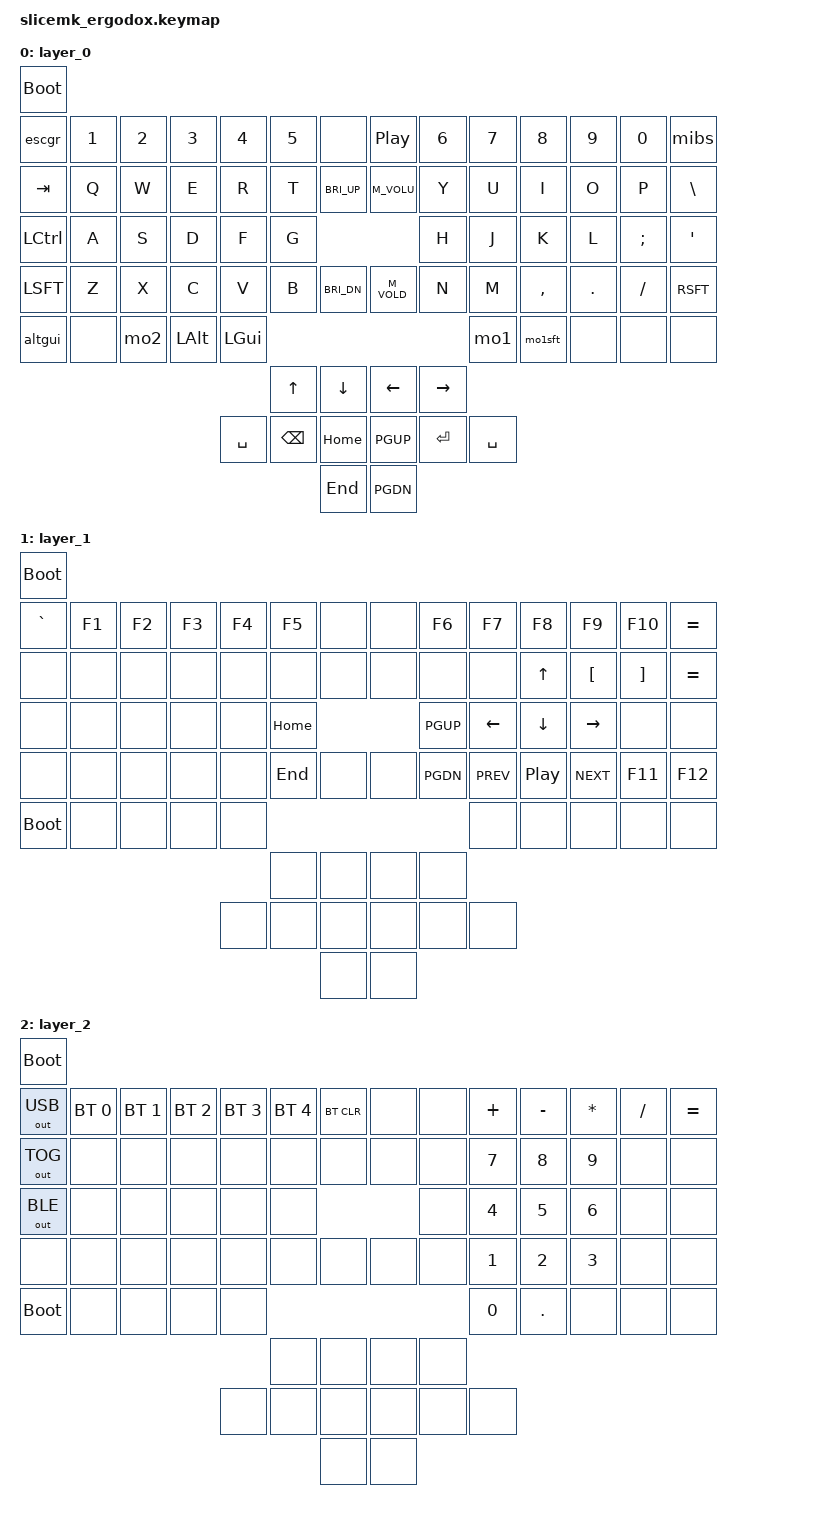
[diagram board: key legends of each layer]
/*
 * Copyright (c) 2020 The ZMK Contributors
 *
 * SPDX-License-Identifier: MIT
 */

#include <behaviors.dtsi>
#include <dt-bindings/zmk/keys.h>
#include <dt-bindings/zmk/bt.h>
#include <dt-bindings/zmk/outputs.h>
#include <dt-bindings/zmk/rgb.h>

/ {
    behaviors {
        escgr: escape_grave {
            compatible = "zmk,behavior-mod-morph";
            label = "DM4_ESCAPE_GRAVE";
            #binding-cells = <0>;
            bindings = <&kp ESC>, <&kp GRAVE>;
            mods = <(MOD_LSFT|MOD_RSFT)>;
            keep-mods = <(MOD_RSFT)>;
        };

        // dm4: for macOS style Cmd-Delete
        mibs: minus_backspace {
            compatible = "zmk,behavior-mod-morph";
            label = "DM4_MINUS_BACKSPACE";
            #binding-cells = <0>;
            bindings = <&kp MINUS>, <&kp BKSP>;
            mods = <(MOD_LGUI)>;
            keep-mods = <(MOD_LGUI)>;
        };
    };
};

#define BRI_UP (C_BRIGHTNESS_INC)
#define BRI_DN (C_BRIGHTNESS_DEC)
#define O_TOG OUT_TOG
#define O_USB OUT_USB
#define O_BLE OUT_BLE
#define BT_S BT_SEL
#define BLUE RGB_COLOR_HSB(240,100,100)
#define GREEN RGB_COLOR_HSB(120,100,100)
#define RGBOFF RGB_COLOR_HSB(0,0,0)

/ {
	keymap {
		compatible = "zmk,keymap";
		layer_0 {
			bindings = <
	&bootloader
	&escgr      &kp NUM_1  &kp NUM_2  &kp NUM_3  &kp NUM_4  &kp NUM_5  &none      &kp C_PP   &kp NUM_6  &kp NUM_7  &kp NUM_8  &kp NUM_9  &kp NUM_0  &mibs
	&kp TAB     &kp Q      &kp W      &kp E      &kp R      &kp T      &kp BRI_UP &kp M_VOLU &kp Y      &kp U      &kp I      &kp O      &kp P      &kp BSLH
	&kp LCTL    &kp A      &kp S      &kp D      &kp F      &kp G                            &kp H      &kp J      &kp K      &kp L      &kp SCLN   &kp SQT
	&kp LSFT    &kp Z      &kp X      &kp C      &kp V      &kp B      &kp BRI_DN &kp M_VOLD &kp N      &kp M      &kp CMMA   &kp DOT    &kp FSLH   &kp RSFT
	&altgui     &none      &mo2       &kp LALT   &kp LGUI                                               &mo1       &mo1sft    &none      &none      &none
	                                                        &kp UP     &kp DOWN   &kp LEFT   &kp RIGHT
	                                             &kp SPC    &kp BKSP   &kp HOME   &kp PGUP   &kp RET    &kp SPC
	                                                                   &kp END    &kp PGDN
			>;
		};

		layer_1 {
			bindings = <
	&bootloader
	&kp GRAVE   &kp F1     &kp F2     &kp F3     &kp F4     &kp F5     &none      &none      &kp F6     &kp F7     &kp F8     &kp F9     &kp F10    &kp EQL
	&none       &none      &none      &none      &none      &none      &none      &none      &none      &none      &kp UP     &kp LBKT   &kp RBKT   &kp EQL
	&none       &none      &none      &none      &none      &kp HOME                         &kp PGUP   &kp LEFT   &kp DOWN   &kp RIGHT  &none      &none
	&none       &none      &none      &none      &none      &kp END    &none      &none      &kp PGDN   &kp C_PREV &kp C_PP   &kp C_NEXT &kp F11    &kp F12
	&bootloader &none      &none      &none      &none                                                  &none      &none      &none      &none      &none
	                                                        &none      &none      &none      &none
	                                             &none      &none      &none      &none      &none      &none
	                                                                   &none      &none
			>;
		};

		layer_2 {
			bindings = <
	&bootloader
	&out O_USB  &bt BT_S 0 &bt BT_S 1 &bt BT_S 2 &bt BT_S 3 &bt BT_S 4 &bt BT_CLR &none      &none      &kp PLUS   &kp MINUS  &kp STAR   &kp SLASH  &kp EQL
	&out O_TOG  &none      &none      &none      &none      &none      &none      &none      &none      &kp NUM_7  &kp NUM_8  &kp NUM_9  &none      &none
	&out O_BLE  &none      &none      &none      &none      &none                            &none      &kp NUM_4  &kp NUM_5  &kp NUM_6  &none      &none
	&none       &none      &none      &none      &none      &none      &none      &none      &none      &kp NUM_1  &kp NUM_2  &kp NUM_3  &none      &none
	&bootloader &none      &none      &none      &none                                                  &kp NUM_0  &kp DOT    &none      &none      &none
	                                                        &none      &none      &none      &none
	                                             &none      &none      &none      &none      &none      &none
	                                                                   &none      &none
			>;
		};
	};

    ZMK_MACRO(mo1sft,
        wait-ms = <0>;
        tap-ms = <0>;
        bindings
            = <&macro_press &mo 1>
            , <&macro_press &kp RSFT>
            , <&macro_press &rgb_ug BLUE>
            , <&macro_pause_for_release>
            , <&macro_press &rgb_ug RGBOFF>
            , <&macro_release  &kp RSFT>
            , <&macro_release &mo 1>
            ;
    )

    ZMK_MACRO(mo1,
        wait-ms = <0>;
        tap-ms = <0>;
        bindings
            = <&macro_press &mo 1>
            , <&macro_press &rgb_ug BLUE>
            , <&macro_pause_for_release>
            , <&macro_press &rgb_ug RGBOFF>
            , <&macro_release &mo 1>
            ;
    )

    ZMK_MACRO(mo2,
        wait-ms = <0>;
        tap-ms = <0>;
        bindings
            = <&macro_press &mo 2>
            , <&macro_press &rgb_ug GREEN>
            , <&macro_pause_for_release>
            , <&macro_press &rgb_ug RGBOFF>
            , <&macro_release &mo 2>
            ;
    )

    ZMK_MACRO(altgui,
        wait-ms = <0>;
        tap-ms = <0>;
        bindings
            = <&macro_press &kp LALT>
            , <&macro_press &kp LGUI>
            , <&macro_pause_for_release>
            , <&macro_release &kp LALT>
            , <&macro_release &kp LGUI>
            ;
    )
};
